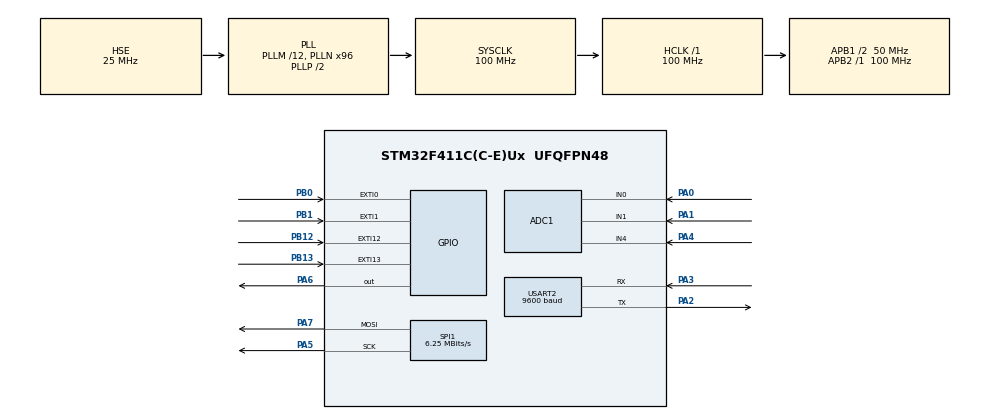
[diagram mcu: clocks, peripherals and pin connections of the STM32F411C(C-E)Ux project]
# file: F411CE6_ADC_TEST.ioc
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ADC1.Channel-1\#ChannelRegularConversion=ADC_CHANNEL_0
ADC1.Channel-4\#ChannelRegularConversion=ADC_CHANNEL_1
ADC1.Channel-5\#ChannelRegularConversion=ADC_CHANNEL_4
ADC1.ContinuousConvMode=ENABLE
ADC1.DMAContinuousRequests=ENABLE
ADC1.InjNumberOfConversion=0
ADC1.NbrOfConversion=3
ADC1.NbrOfConversionFlag=1
ADC1.Rank-1\#ChannelRegularConversion=1
ADC1.Rank-4\#ChannelRegularConversion=2
ADC1.Rank-5\#ChannelRegularConversion=3
ADC1.SamplingTime-1\#ChannelRegularConversion=ADC_SAMPLETIME_144CYCLES
ADC1.SamplingTime-4\#ChannelRegularConversion=ADC_SAMPLETIME_144CYCLES
ADC1.SamplingTime-5\#ChannelRegularConversion=ADC_SAMPLETIME_144CYCLES
ADC1.ScanConvMode=ENABLE
ADC1.master=1
Dma.ADC1.0.Direction=DMA_PERIPH_TO_MEMORY
Dma.ADC1.0.FIFOMode=DMA_FIFOMODE_DISABLE
Dma.ADC1.0.Instance=DMA2_Stream0
Dma.ADC1.0.MemDataAlignment=DMA_MDATAALIGN_WORD
Dma.ADC1.0.MemInc=DMA_MINC_ENABLE
Dma.ADC1.0.Mode=DMA_CIRCULAR
Dma.ADC1.0.PeriphDataAlignment=DMA_PDATAALIGN_WORD
Dma.ADC1.0.PeriphInc=DMA_PINC_DISABLE
Dma.ADC1.0.Priority=DMA_PRIORITY_LOW
Dma.Request0=ADC1
Dma.Request1=USART2_TX
Dma.Request2=USART2_RX
Dma.USART2_RX.2.Direction=DMA_PERIPH_TO_MEMORY
Dma.USART2_RX.2.FIFOMode=DMA_FIFOMODE_DISABLE
Dma.USART2_RX.2.Instance=DMA1_Stream5
Dma.USART2_RX.2.MemDataAlignment=DMA_MDATAALIGN_BYTE
Dma.USART2_RX.2.MemInc=DMA_MINC_ENABLE
Dma.USART2_RX.2.Mode=DMA_NORMAL
Dma.USART2_RX.2.PeriphDataAlignment=DMA_PDATAALIGN_BYTE
Dma.USART2_RX.2.PeriphInc=DMA_PINC_DISABLE
Dma.USART2_RX.2.Priority=DMA_PRIORITY_LOW
Dma.USART2_TX.1.Direction=DMA_MEMORY_TO_PERIPH
Dma.USART2_TX.1.FIFOMode=DMA_FIFOMODE_DISABLE
Dma.USART2_TX.1.Instance=DMA1_Stream6
Dma.USART2_TX.1.MemDataAlignment=DMA_MDATAALIGN_BYTE
Dma.USART2_TX.1.MemInc=DMA_MINC_ENABLE
Dma.USART2_TX.1.Mode=DMA_NORMAL
Dma.USART2_TX.1.PeriphDataAlignment=DMA_PDATAALIGN_BYTE
Dma.USART2_TX.1.PeriphInc=DMA_PINC_DISABLE
Dma.USART2_TX.1.Priority=DMA_PRIORITY_LOW
Mcu.Family=STM32F4
Mcu.Name=STM32F411C(C-E)Ux
Mcu.Package=UFQFPN48
NVIC.DMA1_Stream5_IRQn=true\:0\:0\:false\:false\:true\:false\:true\:true
NVIC.DMA1_Stream6_IRQn=true\:0\:0\:false\:false\:true\:false\:true\:true
NVIC.DMA2_Stream0_IRQn=true\:0\:0\:false\:false\:true\:false\:true\:true
NVIC.EXTI0_IRQn=true\:0\:0\:false\:false\:true\:true\:true\:true
NVIC.EXTI15_10_IRQn=true\:0\:0\:false\:false\:true\:true\:true\:true
NVIC.EXTI1_IRQn=true\:0\:0\:false\:false\:true\:true\:true\:true
NVIC.PriorityGroup=NVIC_PRIORITYGROUP_4
NVIC.USART2_IRQn=true\:0\:0\:false\:false\:true\:true\:true\:true
PA0-WKUP.Signal=ADCx_IN0
PA1.Signal=ADCx_IN1
PA13.Mode=Serial_Wire
PA13.Signal=SYS_JTMS-SWDIO
PA14.Mode=Serial_Wire
PA14.Signal=SYS_JTCK-SWCLK
PA2.Mode=Asynchronous
PA2.Signal=USART2_TX
PA3.Mode=Asynchronous
PA3.Signal=USART2_RX
PA4.Signal=ADCx_IN4
PA5.Mode=TX_Only_Simplex_Unidirect_Master
PA5.Signal=SPI1_SCK
PA6.Signal=GPIO_Output
PA7.Mode=TX_Only_Simplex_Unidirect_Master
PA7.Signal=SPI1_MOSI
PB0.GPIO_ModeDefaultEXTI=GPIO_MODE_IT_RISING_FALLING
PB0.Signal=GPXTI0
PB1.GPIO_ModeDefaultEXTI=GPIO_MODE_IT_FALLING
PB1.Signal=GPXTI1
PB12.GPIO_ModeDefaultEXTI=GPIO_MODE_IT_FALLING
PB12.Signal=GPXTI12
PB13.GPIO_ModeDefaultEXTI=GPIO_MODE_IT_FALLING
PB13.Signal=GPXTI13
PH0\ -\ OSC_IN.Mode=HSE-External-Oscillator
PH0\ -\ OSC_IN.Signal=RCC_OSC_IN
PH1\ -\ OSC_OUT.Mode=HSE-External-Oscillator
PH1\ -\ OSC_OUT.Signal=RCC_OSC_OUT
ProjectManager.HeapSize=0x200
ProjectManager.StackSize=0x400
ProjectManager.TargetToolchain=STM32CubeIDE
RCC.48MHZClocksFreq_Value=50000000
RCC.AHBFreq_Value=100000000
RCC.APB1CLKDivider=RCC_HCLK_DIV2
RCC.APB1Freq_Value=50000000
RCC.APB1TimFreq_Value=100000000
RCC.APB2Freq_Value=100000000
RCC.APB2TimFreq_Value=100000000
RCC.CortexFreq_Value=100000000
RCC.HCLKFreq_Value=100000000
RCC.HSE_VALUE=25000000
RCC.HSI_VALUE=16000000
RCC.LSE_VALUE=32768
RCC.PLLM=12
RCC.PLLN=96
RCC.PLLSourceVirtual=RCC_PLLSOURCE_HSE
RCC.SYSCLKFreq_VALUE=100000000
RCC.SYSCLKSource=RCC_SYSCLKSOURCE_PLLCLK
RCC.VCOOutputFreq_Value=200000000
SH.ADCx_IN0.0=ADC1_IN0,IN0
SH.ADCx_IN1.0=ADC1_IN1,IN1
SH.ADCx_IN4.0=ADC1_IN4,IN4
SPI1.BaudRatePrescaler=SPI_BAUDRATEPRESCALER_16
SPI1.CalculateBaudRate=6.25 MBits/s
SPI1.Direction=SPI_DIRECTION_2LINES
SPI1.Mode=SPI_MODE_MASTER
SPI1.VirtualType=VM_MASTER
USART2.BaudRate=9600
USART2.VirtualMode=VM_ASYNC
board=custom

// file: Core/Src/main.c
/* USER CODE BEGIN Header */
/**
  ******************************************************************************
  * @file           : main.c
  * @brief          : Main program body
  ******************************************************************************
  * @attention
  *
  * Copyright (c) 2025 STMicroelectronics.
  * All rights reserved.
  *
  * This software is licensed under terms that can be found in the LICENSE file
  * in the root directory of this software component.
  * If no LICENSE file comes with this software, it is provided AS-IS.
  *
  ******************************************************************************
  */
/* USER CODE END Header */
#include "main.h"
#include "adc.h"
#include "dma.h"
#include "spi.h"
#include "usart.h"
#include "gpio.h"

/* USER CODE BEGIN Includes */
#include "string.h"
#include "fnd.h"
/* USER CODE END Includes */

/* USER CODE BEGIN PV */
uint8_t rxData[10];
uint8_t btrxData[2];
uint32_t adcValue[3];

int fwState;
int bwState;
int ccwState;
int cwState;
int idling;

char atcon[] = "AT+CONNL";

char idle[] = "i";
char fw[] = "w";
char bw[] = "s";
char ccw[] = "a";
char cw[] = "d";
char brk[] = "b";

char gu[] = "p";
char gd[] = "l";

char honk[] = "h";

char leftTurnSig[] = "q";
char rightTurnSig[] = "e";

extern uint8_t Seg_num[];
/* USER CODE END PV */

void SystemClock_Config(void);
/* USER CODE BEGIN PFP */
void HAL_GPIO_EXTI_Callback(uint16_t GPIO_Pin) {
	if(GPIO_Pin == GPIO_PIN_0) {
		HAL_UART_Transmit_DMA(&huart2, (uint8_t *)honk, strlen(honk));
	}
	if(GPIO_Pin == GPIO_PIN_1) {
		HAL_UART_Transmit_DMA(&huart2, (uint8_t *)leftTurnSig, strlen(leftTurnSig));
	}
	if(GPIO_Pin == GPIO_PIN_12) {
		HAL_UART_Transmit_DMA(&huart2, (uint8_t *)rightTurnSig, strlen(rightTurnSig));
	}
	if(GPIO_Pin == GPIO_PIN_13) {
		HAL_UART_Transmit_DMA(&huart2, (uint8_t *)brk, strlen(brk));
	}
}

void HAL_UART_RxCpltCallback(UART_HandleTypeDef *huart) {
	HAL_UART_Receive_DMA(&huart2, btrxData, 1);

	if(btrxData[0] == 'z') {
		SEG_OUT(0);
	}
	if(btrxData[0] == 'o') {
		SEG_OUT(1);
	}
	if(btrxData[0] == 't') {
		SEG_OUT(2);
	}
}
/* USER CODE END PFP */

int main(void)
{

  /* MCU Configuration--------------------------------------------------------*/

  /* Reset of all peripherals, Initializes the Flash interface and the Systick. */
  HAL_Init();

  /* Configure the system clock */
  SystemClock_Config();

  /* Initialize all configured peripherals */
  MX_GPIO_Init();
  MX_DMA_Init();
  MX_ADC1_Init();
  MX_USART2_UART_Init();
  MX_SPI1_Init();
  /* USER CODE BEGIN 2 */
  HAL_ADC_Start_DMA(&hadc1, adcValue, 3);
  HAL_Delay(1000);
  HAL_UART_Transmit(&huart2, (uint8_t *)atcon, strlen(atcon), HAL_MAX_DELAY);
  HAL_Delay(1000);
  HAL_UART_Receive_DMA(&huart2, btrxData, 1);

  SEG_OUT(0);
  /* USER CODE END 2 */

  /* Infinite loop */
  /* USER CODE BEGIN WHILE */
  while (1)
  {
	 if(adcValue[0] > 2900) {
		 HAL_UART_Transmit_DMA(&huart2, (uint8_t *)fw, strlen(fw));
	 }
	 else if(900 > adcValue[0]) {
		 HAL_UART_Transmit_DMA(&huart2, (uint8_t *)bw, strlen(bw));
	 }

	 if(adcValue[1] > 2400) {
		 HAL_UART_Transmit_DMA(&huart2, (uint8_t *)ccw, strlen(ccw));
	 }
	 else if(900 > adcValue[1]) {
		 HAL_UART_Transmit_DMA(&huart2, (uint8_t *)cw, strlen(cw));
	 }

	 if(adcValue[2] > 4000) {
		 HAL_GPIO_WritePin(GPIOA, GPIO_PIN_11, GPIO_PIN_SET);
		 HAL_UART_Transmit_DMA(&huart2, (uint8_t *)gu, strlen(gu));
	 }
	 else if(adcValue[2] < 200) {
		 HAL_UART_Transmit_DMA(&huart2, (uint8_t *)gd, strlen(gd));
	 }
    /* USER CODE END WHILE */

  }
}

void SystemClock_Config(void)
{
  RCC_OscInitTypeDef RCC_OscInitStruct = {0};
  RCC_ClkInitTypeDef RCC_ClkInitStruct = {0};

  /** Configure the main internal regulator output voltage
  */
  __HAL_RCC_PWR_CLK_ENABLE();
  __HAL_PWR_VOLTAGESCALING_CONFIG(PWR_REGULATOR_VOLTAGE_SCALE1);

  /** Initializes the RCC Oscillators according to the specified parameters
  * in the RCC_OscInitTypeDef structure.
  */
  RCC_OscInitStruct.OscillatorType = RCC_OSCILLATORTYPE_HSE;
  RCC_OscInitStruct.HSEState = RCC_HSE_ON;
  RCC_OscInitStruct.PLL.PLLState = RCC_PLL_ON;
  RCC_OscInitStruct.PLL.PLLSource = RCC_PLLSOURCE_HSE;
  RCC_OscInitStruct.PLL.PLLM = 12;
  RCC_OscInitStruct.PLL.PLLN = 96;
  RCC_OscInitStruct.PLL.PLLP = RCC_PLLP_DIV2;
  RCC_OscInitStruct.PLL.PLLQ = 4;
  if (HAL_RCC_OscConfig(&RCC_OscInitStruct) != HAL_OK)
  {
    Error_Handler();
  }

  /** Initializes the CPU, AHB and APB buses clocks
  */
  RCC_ClkInitStruct.ClockType = RCC_CLOCKTYPE_HCLK|RCC_CLOCKTYPE_SYSCLK
                              |RCC_CLOCKTYPE_PCLK1|RCC_CLOCKTYPE_PCLK2;
  RCC_ClkInitStruct.SYSCLKSource = RCC_SYSCLKSOURCE_PLLCLK;
  RCC_ClkInitStruct.AHBCLKDivider = RCC_SYSCLK_DIV1;
  RCC_ClkInitStruct.APB1CLKDivider = RCC_HCLK_DIV2;
  RCC_ClkInitStruct.APB2CLKDivider = RCC_HCLK_DIV1;

  if (HAL_RCC_ClockConfig(&RCC_ClkInitStruct, FLASH_LATENCY_3) != HAL_OK)
  {
    Error_Handler();
  }
}

void Error_Handler(void)
{
  __disable_irq();
  while (1)
  {
  }
}
